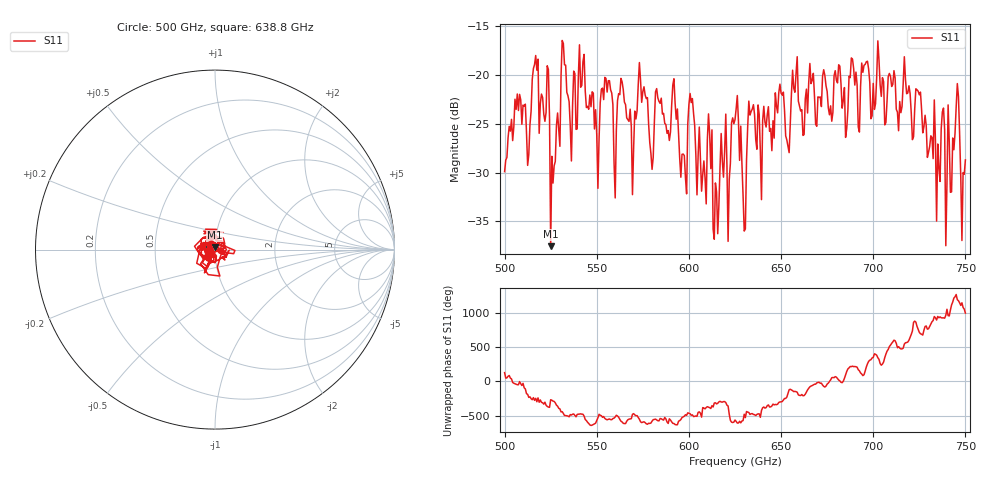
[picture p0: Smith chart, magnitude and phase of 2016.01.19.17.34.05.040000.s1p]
!Created with skrf (http://scikit-rf.org).
# GHz S RI R 50.0
!freq ReS11 ImS11
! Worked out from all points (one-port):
!   401 points, 500 GHz to 750 GHz, reference 50 ohm
!   lowest |S11| = -37.5 dB at 525 GHz (marker M1), VSWR 1.03, Z = 49.9 + j1.32 ohm
!   |S11| at or under -10 dB: start of sweep to end of sweep
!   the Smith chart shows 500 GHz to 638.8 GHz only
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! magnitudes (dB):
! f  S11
! 500 GHz  -29.9
! 506.9 GHz  -22.0
! 513.1 GHz  -28.1
! 516.9 GHz  -18.0
! 525 GHz  -37.5
! 526.2 GHz  -31.1
! 531.2 GHz  -16.5
! 535.6 GHz  -25.3
! 541.9 GHz  -21.1
! 550 GHz  -26.2
! 562.5 GHz  -22.0
! 568.8 GHz  -25.3
! 593.8 GHz  -23.5
! 597.5 GHz  -28.3
! 601.2 GHz  -22.8
! 608.1 GHz  -28.8
! 611.2 GHz  -26.1
! 614.4 GHz  -31.1
! 625 GHz  -24.6
! 630 GHz  -36.0
! 633.8 GHz  -23.8
! 653.8 GHz  -27.3
! 656.2 GHz  -19.5
! 687.5 GHz  -20.3
! 718.8 GHz  -21.9
! 735 GHz  -27.1
! 745.6 GHz  -20.9
! 750 GHz  -28.7
